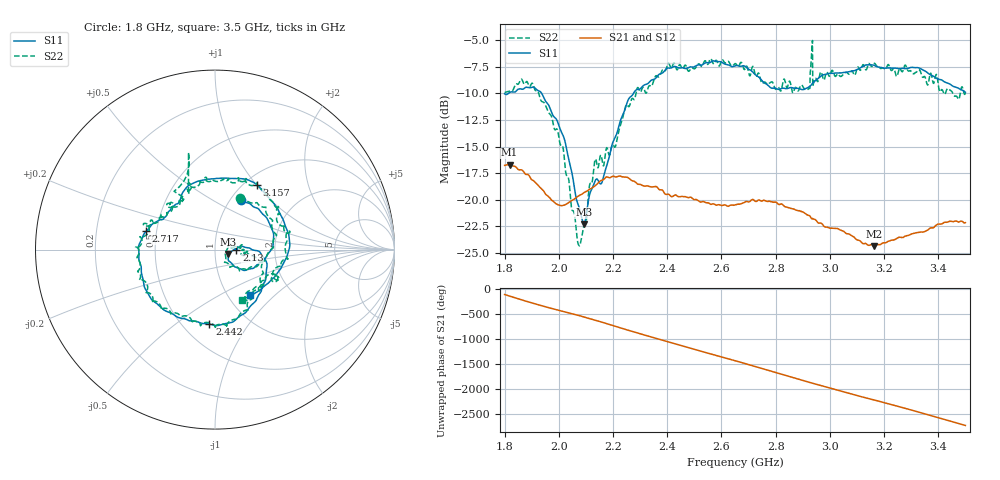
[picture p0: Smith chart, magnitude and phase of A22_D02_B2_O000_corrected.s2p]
! Created with skrf 1.9.0 (http://scikit-rf.org).
# Hz S RI R 50.0
!freq ReS11 ImS11 ReS21 ImS21 ReS12 ImS12 ReS22 ImS22
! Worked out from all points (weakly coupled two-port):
!   1601 points, 1.8 GHz to 3.5 GHz, reference 50 ohm
!   highest |S21| = -16.71 dB at 1.818 GHz (marker M1); lowest = -24.4 dB at 3.163 GHz (marker M2)
!   lowest |S11| = -22.3 dB at 2.092 GHz (marker M3), VSWR 1.17, Z = 57.8 - j2.8 ohm
!   |S11| at or under -10 dB: start of sweep to 1.814 GHz; 1.937 GHz to 2.276 GHz (338.7 MHz wide, 16.1 % of centre)
!   |S22| runs from -24.4 to -5.0 dB; largest |S21 - S12| = 0.0025
!   S11 on the Smith chart (normalised r, x): 1.8 GHz: 1.12, +0.69; 2.13 GHz: 1.27, -0.01; 2.442 GHz: 0.67, -0.67; 2.717 GHz: 0.44, +0.11; 3.157 GHz: 1.14, +1.01; 3.5 GHz: 1.26, -0.71
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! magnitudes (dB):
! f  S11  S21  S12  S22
! 1.8 GHz  -10.0  -16.8  -16.8  -9.9
! 1.818 GHz  -9.9  -16.7  -16.7  -9.8
! 1.902 GHz  -9.4  -18.2  -18.1  -9.0
! 1.968 GHz  -11.4  -19.9  -19.9  -12.0
! 2.02 GHz  -14.2  -20.5  -20.5  -16.0
! 2.07 GHz  -20.4  -19.7  -19.7  -24.0
! 2.084 GHz  -21.6  -19.5  -19.5  -23.6
! 2.092 GHz  -22.3  -19.3  -19.4  -22.5
! 2.13 GHz  -18.4  -18.8  -18.8  -16.7
! 2.161 GHz  -18.2  -18.1  -18.1  -16.5
! 2.259 GHz  -10.5  -18.0  -18.0  -11.2
! 2.367 GHz  -8.3  -19.0  -18.9  -8.5
! 2.442 GHz  -7.6  -19.7  -19.7  -7.5
! 2.65 GHz  -7.4  -20.5  -20.5  -7.2
! 2.717 GHz  -8.0  -20.0  -20.0  -7.5
! 2.868 GHz  -9.5  -20.9  -20.9  -9.7
! 2.918 GHz  -9.5  -21.5  -21.5  -9.7
! 2.934 GHz  -9.1  -21.8  -21.8  -5.7
! 3.157 GHz  -7.3  -24.3  -24.3  -7.4
! 3.163 GHz  -7.4  -24.4  -24.3  -7.2
! 3.217 GHz  -7.6  -23.9  -23.9  -7.3
! 3.5 GHz  -9.9  -22.2  -22.1  -9.9
